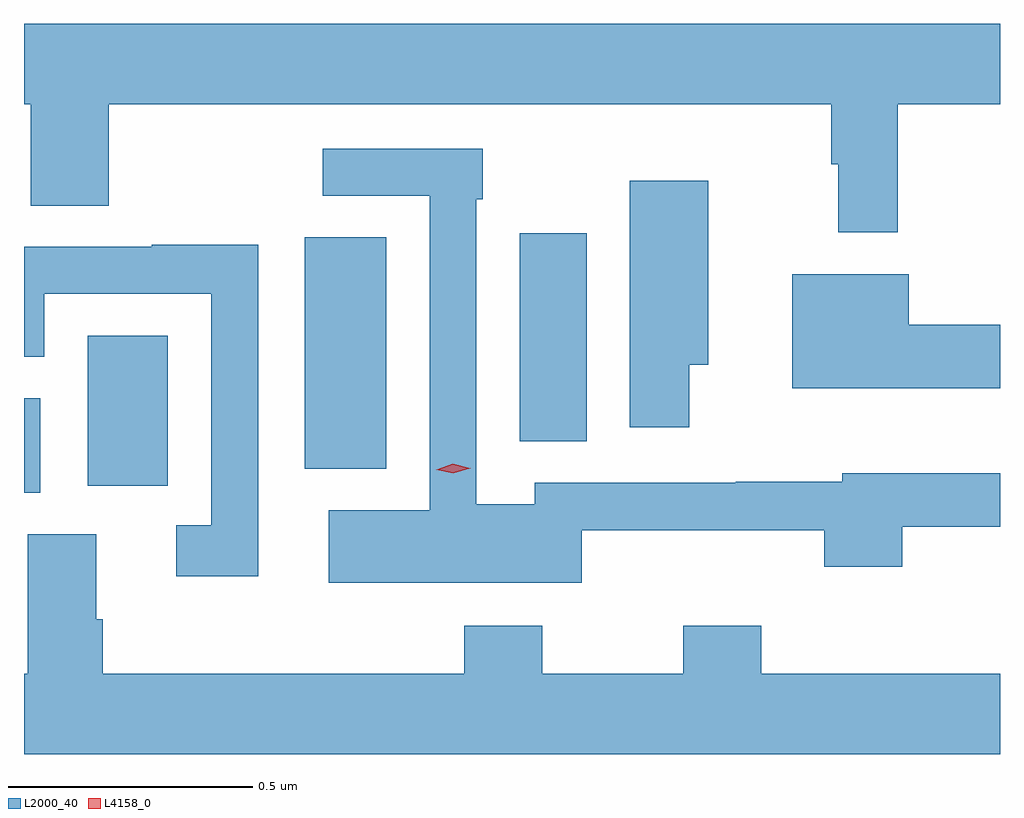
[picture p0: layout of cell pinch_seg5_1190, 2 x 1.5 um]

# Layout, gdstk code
import gdstk
lib = gdstk.Library(unit=1e-6, precision=1e-09)
def R(c, l, rs):  # rectangles x0, y0, x1, y1
    for r in rs: c.add(gdstk.rectangle(r[:2], r[2:], *l))
def P(c, l, *ps):  # polygons
    for p in ps: c.add(gdstk.Polygon(p, *l))
L2000_40 = (2000, 40)
L4158_0 = (4158, 0)

pinch_seg5_1190 = lib.new_cell('pinch_seg5_1190')
R(pinch_seg5_1190, L2000_40, [(880.293,841.311,880.326,841.505), (880.424,841.326,880.588,841.633), (880.868,841.361,881.035,841.835), (881.309,841.417,881.446,841.843)])
P(pinch_seg5_1190, L2000_40, [(880.293,842.108),(880.307,842.108),(880.307,841.9),(880.467,841.9),(880.467,842.108),(881.947,842.108),(881.947,841.985),(881.962,841.985),(881.962,841.845),(882.083,841.845),(882.083,842.108),(882.293,842.108),(882.293,842.272),(880.293,842.272)],
  [(881.436,841.235),(881.933,841.235),(881.933,841.16),(882.093,841.16),(882.093,841.242),(882.293,841.242),(882.293,841.351),(881.97,841.351),(881.97,841.334),(881.752,841.334),(881.752,841.332),(881.34,841.332),(881.34,841.288),(881.22,841.288),(881.22,841.913),(881.233,841.913),(881.233,842.016),(880.905,842.016),(880.905,841.92),(881.124,841.92),(881.124,841.276),(880.917,841.276),(880.917,841.127),(881.436,841.127)],
  [(881.656,841.574),(881.695,841.574),(881.695,841.951),(881.534,841.951),(881.534,841.446),(881.656,841.446)],
  [(880.773,841.82),(880.555,841.82),(880.555,841.815),(880.293,841.815),(880.293,841.59),(880.335,841.59),(880.335,841.719),(880.677,841.719),(880.677,841.245),(880.605,841.245),(880.605,841.14),(880.773,841.14)],
  [(882.293,841.656),(882.106,841.656),(882.106,841.759),(881.867,841.759),(881.867,841.526),(882.293,841.526)],
  [(882.293,840.94),(881.804,840.94),(881.804,841.039),(881.644,841.039),(881.644,840.94),(881.355,840.94),(881.355,841.039),(881.195,841.039),(881.195,840.94),(880.454,840.94),(880.454,841.052),(880.441,841.052),(880.441,841.226),(880.301,841.226),(880.301,840.94),(880.293,840.94),(880.293,840.776),(882.293,840.776)])
P(pinch_seg5_1190, L4158_0, [(881.173,841.351),(881.138,841.359),(881.138,841.359),(881.138,841.359),(881.172,841.371),(881.207,841.362),(881.208,841.362),(881.207,841.362)])

lib.write_gds('pinch_seg5_1190.gds')
